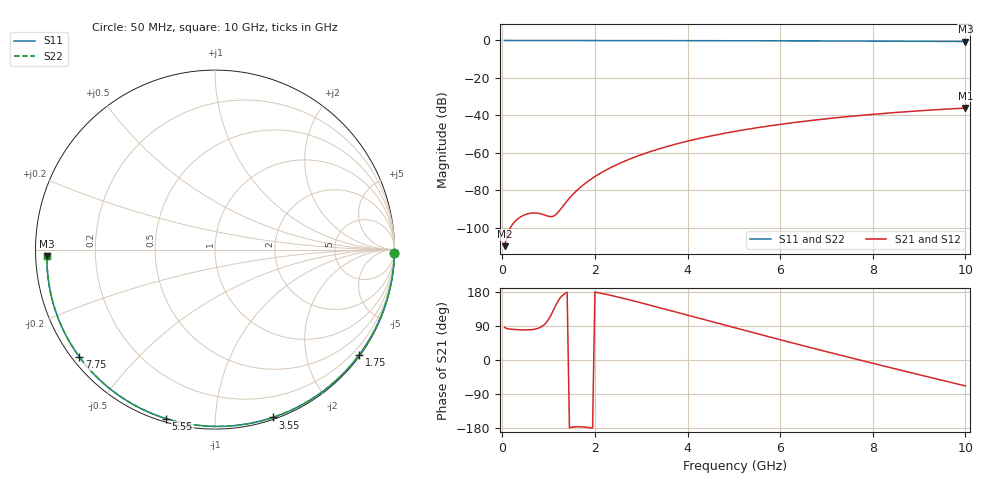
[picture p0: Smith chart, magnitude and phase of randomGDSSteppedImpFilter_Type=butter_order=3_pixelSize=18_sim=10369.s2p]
! freq	dB(S11)	phase(S11)	dB(S12)	phase(S12)
!  dB(S21)	phase(S21)	dB(S22)	phase(S22)
!S-par simulation data
#  GHz  S  DB  R 50
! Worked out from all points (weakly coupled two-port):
!   200 points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, 50 MHz to 10 GHz, reference 50 ohm
!   highest |S21| = -36.06 dB at 10 GHz (marker M1); lowest = -109.7 dB at 50 MHz (marker M2)
!   lowest |S11| = -0.6 dB at 10 GHz (marker M3), VSWR 30.89, Z = 1.62 - j0.943 ohm
!   |S11| at or under -10 dB: nowhere
!   |S22| runs from -0.6 to 0.0 dB; largest |S21 - S12| = 0
!   S11 on the Smith chart (normalised r, x): 50 MHz: open; 1.75 GHz: 0.03, -3.06; 3.55 GHz: 0.02, -1.40; 5.55 GHz: 0.02, -0.75; 7.75 GHz: 0.02, -0.35; 10 GHz: 0.03, -0.02
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0.05  -0.00 -1.1  -109.75 85.8  -109.75 85.8  -0.00 -1.1
0.4  -0.01 -8.4  -94.05 79.6  -94.05 79.6  -0.01 -8.4
0.8  -0.02 -16.8  -92.32 85.0  -92.32 85.0  -0.02 -16.8
1.2  -0.03 -25.0  -91.80 154.7  -91.80 154.7  -0.03 -25.0
1.6  -0.04 -33.2  -80.28 -176.1  -80.28 -176.1  -0.04 -33.2
1.75  -0.05 -36.2  -77.05 -176.6  -77.05 -176.6  -0.05 -36.2
1.9  -0.05 -39.2  -74.27 -178.8  -74.27 -178.8  -0.05 -39.2
2.05  -0.05 -42.2  -71.84 178.1  -71.84 178.1  -0.05 -42.2
2.25  -0.06 -46.2  -69.00 173.1  -69.00 173.1  -0.06 -46.2
2.45  -0.06 -50.1  -66.52 167.5  -66.52 167.5  -0.06 -50.1
2.9  -0.08 -58.8  -61.85 153.9  -61.85 153.9  -0.08 -58.8
3.4  -0.09 -68.2  -57.71 137.8  -57.71 137.8  -0.09 -68.2
3.55  -0.09 -71.0  -56.63 133.0  -56.63 133.0  -0.09 -71.0
4.3  -0.12 -84.6  -52.01 108.4  -52.01 108.4  -0.12 -84.6
5.05  -0.15 -97.7  -48.39 84.0  -48.39 84.0  -0.15 -97.7
5.55  -0.17 -106.1  -46.37 67.8  -46.37 67.8  -0.17 -106.1
6.1  -0.20 -115.2  -44.43 50.3  -44.43 50.3  -0.20 -115.2
6.7  -0.24 -125.0  -42.60 31.4  -42.60 31.4  -0.24 -125.0
7.75  -0.32 -141.7  -39.95 -1.1  -39.95 -1.1  -0.32 -141.7
8.35  -0.38 -151.2  -38.70 -19.3  -38.70 -19.3  -0.38 -151.2
9.2  -0.47 -164.7  -37.20 -44.7  -37.20 -44.7  -0.47 -164.7
10  -0.56 -177.8  -36.06 -68.4  -36.06 -68.4  -0.56 -177.8
